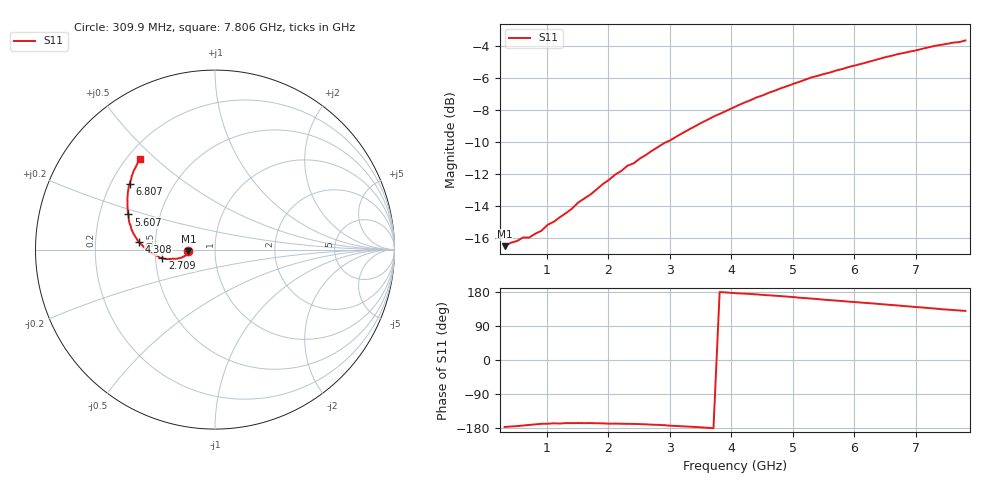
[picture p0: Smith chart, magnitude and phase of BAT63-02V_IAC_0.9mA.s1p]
! Infineon Technologies  Discrete & RF Semiconductors
! BAT63-02V
! IAC = 0.9 mA
! One-Port S-Parameters
# Hz  S  MA  R  50
!f  S11
!Hz  Mag  Ang
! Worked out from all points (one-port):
!   76 points, 309.9 MHz to 7.806 GHz, reference 50 ohm
!   lowest |S11| = -16.5 dB at 309.9 MHz (marker M1), VSWR 1.35, Z = 37.1 - j0.656 ohm
!   |S11| at or under -10 dB: start of sweep to 2.953 GHz
!   S11 on the Smith chart (normalised r, x): 309.9 MHz: 0.74, -0.01; 2.709 GHz: 0.55, -0.06; 4.308 GHz: 0.40, +0.04; 5.607 GHz: 0.33, +0.17; 6.807 GHz: 0.28, +0.32; 7.806 GHz: 0.25, +0.45
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3.0985e8  0.1489 -176.7
6.097e8  0.1585 -172.9
7.0965e8  0.1585 -171.4
9.0955e8  0.1665 -168.3
1.0095e9  0.1736 -168.2
1.30935e9  0.1891 -166.4
1.50925e9  0.2041 -166.3
1.70915e9  0.2163 -166.4
2.10895e9  0.2496 -167.7
2.2089e9  0.2562 -168.3
2.30885e9  0.2661 -168.4
2.4088e9  0.2706 -168.7
2.70865e9  0.2965 -170.6
2.90855e9  0.3134 -172.0
3.2084e9  0.3369 -175.1
3.50825e9  0.3623 -177.7
4.10795e9  0.4111 176.0
4.30785e9  0.4265 174.2
5.0075e9  0.4801 166.1
5.30735e9  0.5034 162.0
5.6072e9  0.5213 158.0
6.007e9  0.548 152.9
6.50675e9  0.5821 146.5
6.8066e9  0.6001 142.4
6.90655e9  0.6061 141.1
7.30635e9  0.6311 135.9
7.4063e9  0.6361 134.2
7.8061e9  0.6566 129.5
